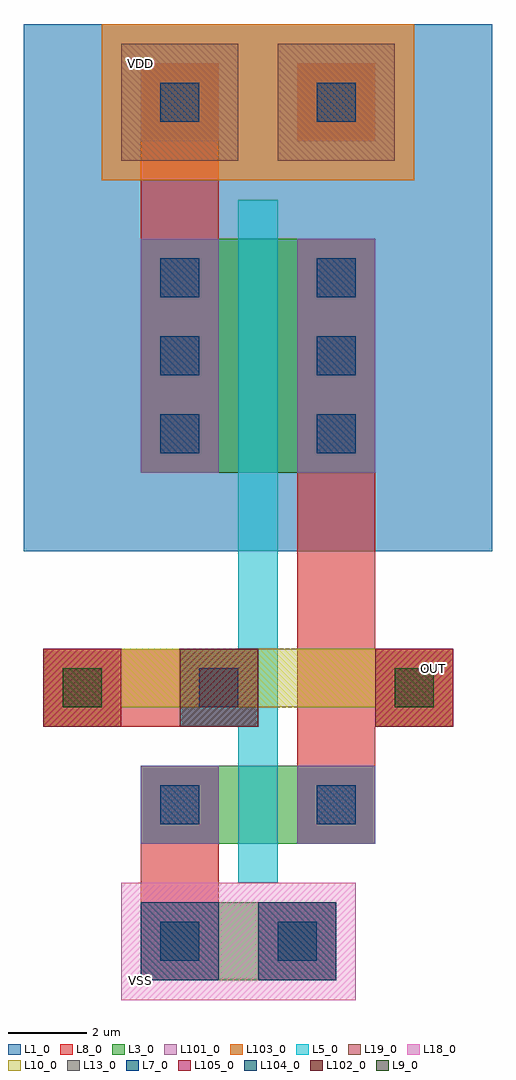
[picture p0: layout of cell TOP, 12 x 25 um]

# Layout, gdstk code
from math import pi, radians
import gdstk
lib = gdstk.Library(unit=1e-6, precision=1e-09)
def R(c, l, rs):  # rectangles x0, y0, x1, y1
    for r in rs: c.add(gdstk.rectangle(r[:2], r[2:], *l))
def P(c, l, *ps):  # polygons
    for p in ps: c.add(gdstk.Polygon(p, *l))
L1_0 = (1, 0)
L3_0 = (3, 0)
L5_0 = (5, 0)
L7_0 = (7, 0)
L8_0 = (8, 0)
L9_0 = (9, 0)
L10_0 = (10, 0)
L13_0 = (13, 0)
L18_0 = (18, 0)
L19_0 = (19, 0)
L101_0 = (101, 0)
L102_0 = (102, 0)
L103_0 = (103, 0)
L104_0 = (104, 0)
L105_0 = (105, 0)

dcont = lib.new_cell('dcont')
R(dcont, L3_0, [(-1,-1,1,1)])
R(dcont, L7_0, [(-0.5,-0.5,0.5,0.5)])
R(dcont, L8_0, [(-1,-1,1,1)])
R(dcont, L13_0, [(-0.5,-0.5,0.5,0.5)])
R(dcont, L101_0, [(-1,-1,1,1)])
dcont.add(gdstk.Label('dcont', (0,0), layer=13, texttype=0))

nsubcont = lib.new_cell('nsubcont')
R(nsubcont, L1_0, [(-2,-2,2,2)])
R(nsubcont, L19_0, [(-1.5,-1.5,1.5,1.5)])
R(nsubcont, L103_0, [(-2,-2,2,2)])
nsubcont.add(gdstk.Reference(dcont, (0,0)))
nsubcont.add(gdstk.Label('NScont', (0,0), layer=13, texttype=0))

via = lib.new_cell('Via')
R(via, L8_0, [(-1,-1,1,1)])
R(via, L9_0, [(-0.5,-0.5,0.5,0.5)])
R(via, L10_0, [(-1,-1,1,1)])
R(via, L13_0, [(-0.5,-0.5,0.5,0.5)])
R(via, L105_0, [(-1,-1,1,1)])
via.add(gdstk.Label('via', (0,0), layer=13, texttype=0))

psubcont = lib.new_cell('psubcont')
R(psubcont, L18_0, [(-1.5,-1.5,1.5,1.5)])
R(psubcont, L104_0, [(-1,-1,1,1)])
psubcont.add(gdstk.Reference(dcont, (0,0)))
psubcont.add(gdstk.Label('PScon', (0,0), layer=13, texttype=0))

pcont = lib.new_cell('pcont')
R(pcont, L5_0, [(-1,-1,1,1)])
R(pcont, L7_0, [(-0.5,-0.5,0.5,0.5)])
R(pcont, L8_0, [(-1,-1,1,1)])
R(pcont, L13_0, [(-0.5,-0.5,0.5,0.5)])
R(pcont, L102_0, [(-1,-1,1,1)])
pcont.add(gdstk.Label('pcont', (0,0), layer=13, texttype=0))

top = lib.new_cell('TOP')
P(top, L1_0, [(-10,-4.5),(-10,-4),(-10,9),(2,9),(2,-4.5),(-8.5,-4.5)])
R(top, L3_0, [(-5,-15.5,-4,-13.5), (-5,-12,-3,-10), (-5,-2.5,-3,3.5)])
R(top, L5_0, [(-4.5,-13,-3.5,-9), (-4.5,-9,-3.5,4.5)])
R(top, L8_0, [(-7,-13.5,-5,-12), (-3,-10,-1,-2.5), (-7.5,-9,-6,-7), (-7,3.5,-5,6)])
R(top, L10_0, [(-7.5,-8.5,-1,-7)])
top.add(gdstk.Reference(nsubcont, (-6,7), rotation=pi))
top.add(gdstk.Reference(nsubcont, (-2,7), rotation=pi))
top.add(gdstk.Reference(via, (0,-8), rotation=pi))
top.add(gdstk.Reference(dcont, (-6,2.5), rotation=pi))
top.add(gdstk.Reference(dcont, (-6,0.5), rotation=pi))
top.add(gdstk.Reference(dcont, (-6,-1.5), rotation=pi))
top.add(gdstk.Reference(dcont, (-2,2.5), rotation=pi))
top.add(gdstk.Reference(dcont, (-2,0.5), rotation=pi))
top.add(gdstk.Reference(dcont, (-2,-1.5), rotation=pi))
top.add(gdstk.Reference(via, (-8.5,-8), rotation=pi))
top.add(gdstk.Reference(psubcont, (-3,-14.5), rotation=pi))
top.add(gdstk.Reference(psubcont, (-6,-14.5), rotation=pi))
top.add(gdstk.Reference(dcont, (-2,-11), rotation=pi))
top.add(gdstk.Reference(dcont, (-6,-11), rotation=pi))
top.add(gdstk.Reference(pcont, (-5,-8), rotation=pi))
top.add(gdstk.Label('VDD', (-7,8), layer=8, texttype=0))
top.add(gdstk.Label('VSS', (-7,-15.5), layer=8, texttype=0))
top.add(gdstk.Label('OUT', (0.5,-7.5), layer=10, texttype=0))

lib.write_gds('TOP.gds')
